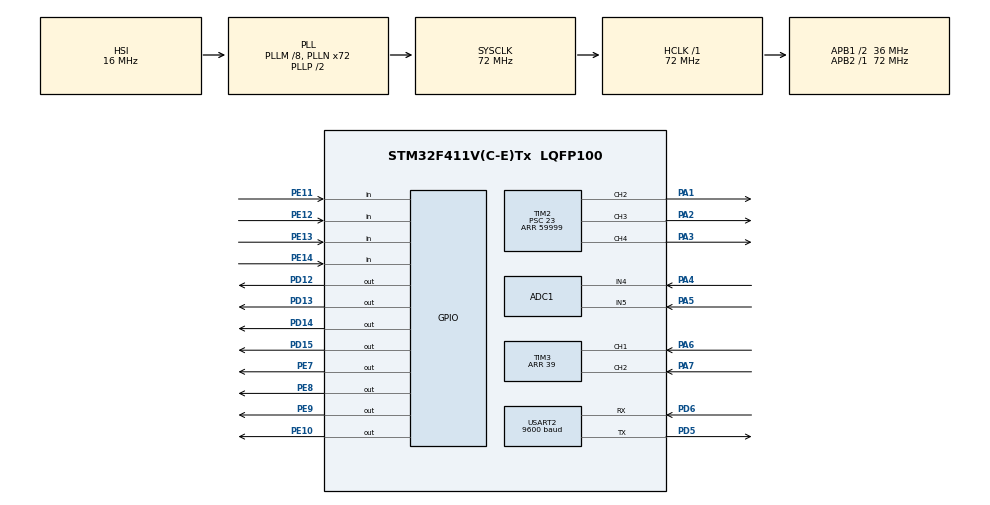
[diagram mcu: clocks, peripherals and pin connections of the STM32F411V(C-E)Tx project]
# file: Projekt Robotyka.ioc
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ADC1.Channel-0\#ChannelRegularConversion=ADC_CHANNEL_4
ADC1.Channel-1\#ChannelRegularConversion=ADC_CHANNEL_5
ADC1.ClockPrescaler=ADC_CLOCK_SYNC_PCLK_DIV8
ADC1.ContinuousConvMode=ENABLE
ADC1.DMAContinuousRequests=ENABLE
ADC1.NbrOfConversion=2
ADC1.NbrOfConversionFlag=1
ADC1.Rank-0\#ChannelRegularConversion=1
ADC1.Rank-1\#ChannelRegularConversion=2
ADC1.SamplingTime-0\#ChannelRegularConversion=ADC_SAMPLETIME_480CYCLES
ADC1.SamplingTime-1\#ChannelRegularConversion=ADC_SAMPLETIME_480CYCLES
ADC1.ScanConvMode=ENABLE
ADC1.master=1
Dma.ADC1.0.Direction=DMA_PERIPH_TO_MEMORY
Dma.ADC1.0.FIFOMode=DMA_FIFOMODE_DISABLE
Dma.ADC1.0.Instance=DMA2_Stream0
Dma.ADC1.0.MemDataAlignment=DMA_MDATAALIGN_HALFWORD
Dma.ADC1.0.MemInc=DMA_MINC_ENABLE
Dma.ADC1.0.Mode=DMA_CIRCULAR
Dma.ADC1.0.PeriphDataAlignment=DMA_PDATAALIGN_HALFWORD
Dma.ADC1.0.PeriphInc=DMA_PINC_DISABLE
Dma.ADC1.0.Priority=DMA_PRIORITY_LOW
Dma.Request0=ADC1
Mcu.Family=STM32F4
Mcu.Name=STM32F411V(C-E)Tx
Mcu.Package=LQFP100
NVIC.DMA2_Stream0_IRQn=true\:0\:0\:false\:false\:true\:false\:true
NVIC.PriorityGroup=NVIC_PRIORITYGROUP_4
NVIC.TIM3_IRQn=true\:0\:0\:false\:false\:true\:true\:true
NVIC.USART2_IRQn=true\:0\:0\:false\:false\:true\:true\:true
PA1.GPIO_Speed=GPIO_SPEED_FREQ_HIGH
PA1.Signal=S_TIM2_CH2
PA2.GPIO_Speed=GPIO_SPEED_FREQ_HIGH
PA2.Signal=S_TIM2_CH3
PA3.GPIO_Speed=GPIO_SPEED_FREQ_HIGH
PA3.Signal=S_TIM2_CH4
PA4.Signal=ADCx_IN4
PA5.Signal=ADCx_IN5
PA6.Signal=S_TIM3_CH1
PA7.Signal=S_TIM3_CH2
PD12.Signal=GPIO_Output
PD13.Signal=GPIO_Output
PD14.Signal=GPIO_Output
PD15.Signal=GPIO_Output
PD5.Mode=Asynchronous
PD5.Signal=USART2_TX
PD6.Mode=Asynchronous
PD6.Signal=USART2_RX
PE10.Signal=GPIO_Output
PE11.GPIO_PuPd=GPIO_PULLDOWN
PE11.Signal=GPIO_Input
PE12.GPIO_PuPd=GPIO_PULLDOWN
PE12.Signal=GPIO_Input
PE13.GPIO_PuPd=GPIO_PULLDOWN
PE13.Signal=GPIO_Input
PE14.GPIO_PuPd=GPIO_PULLDOWN
PE14.Signal=GPIO_Input
PE7.Signal=GPIO_Output
PE8.Signal=GPIO_Output
PE9.Signal=GPIO_Output
ProjectManager.HeapSize=0x200
ProjectManager.StackSize=0x400
ProjectManager.TargetToolchain=STM32CubeIDE
RCC.48MHZClocksFreq_Value=36000000
RCC.AHBFreq_Value=72000000
RCC.APB1CLKDivider=RCC_HCLK_DIV2
RCC.APB1Freq_Value=36000000
RCC.APB1TimFreq_Value=72000000
RCC.APB2Freq_Value=72000000
RCC.APB2TimFreq_Value=72000000
RCC.CortexFreq_Value=72000000
RCC.HCLKFreq_Value=72000000
RCC.HSE_VALUE=25000000
RCC.HSI_VALUE=16000000
RCC.LSE_VALUE=32768
RCC.PLLM=8
RCC.PLLN=72
RCC.SYSCLKFreq_VALUE=72000000
RCC.SYSCLKSource=RCC_SYSCLKSOURCE_PLLCLK
RCC.VCOOutputFreq_Value=144000000
SH.ADCx_IN4.0=ADC1_IN4,IN4
SH.ADCx_IN5.0=ADC1_IN5,IN5
SH.S_TIM2_CH2.0=TIM2_CH2,PWM Generation2 CH2
SH.S_TIM2_CH3.0=TIM2_CH3,PWM Generation3 CH3
SH.S_TIM2_CH4.0=TIM2_CH4,PWM Generation4 CH4
SH.S_TIM3_CH1.0=TIM3_CH1,Encoder_Interface
SH.S_TIM3_CH2.0=TIM3_CH2,Encoder_Interface
TIM2.AutoReloadPreload=TIM_AUTORELOAD_PRELOAD_ENABLE
TIM2.Channel-PWM\ Generation2\ CH2=TIM_CHANNEL_2
TIM2.Channel-PWM\ Generation3\ CH3=TIM_CHANNEL_3
TIM2.Channel-PWM\ Generation4\ CH4=TIM_CHANNEL_4
TIM2.Period=59999
TIM2.Prescaler=23
TIM3.Period=39
USART2.BaudRate=9600
USART2.VirtualMode=VM_ASYNC
VP_TIM2_VS_ClockSourceINT.Mode=Internal
board=custom

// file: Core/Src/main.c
/* USER CODE BEGIN Header */
/**
  ******************************************************************************
  * @file           : main.c
  * @brief          : Main program body
  ******************************************************************************
  * @attention
  *
  * <h2><center>&copy; Copyright (c) 2021 STMicroelectronics.
  * All rights reserved.</center></h2>
  *
  * This software component is licensed by ST under BSD 3-Clause license,
  * the "License"; You may not use this file except in compliance with the
  * License. You may obtain a copy of the License at:
  *                        opensource.org/licenses/BSD-3-Clause
  *
  ******************************************************************************
  */
/* USER CODE END Header */
#include "main.h"
#include "adc.h"
#include "dma.h"
#include "tim.h"
#include "usart.h"
#include "gpio.h"

/* USER CODE BEGIN Includes */
#include "InverseKinematics.h"
#include "Servo.h"
#include "math.h"
#include "matrix_lib.h"
#include "Joystick.h"
/* USER CODE END Includes */

/* USER CODE BEGIN PM */
//int a=10;
/* USER CODE END PM */

/* USER CODE BEGIN PV */
uint16_t Joystick[2];
int a ;
volatile int counter = 0;;
uint8_t Received;
/* USER CODE END PV */

void SystemClock_Config(void);

int main(void)
{

  /* MCU Configuration--------------------------------------------------------*/

  /* Reset of all peripherals, Initializes the Flash interface and the Systick. */
  HAL_Init();

  /* Configure the system clock */
  SystemClock_Config();

  /* Initialize all configured peripherals */
  MX_GPIO_Init();
  MX_DMA_Init();
  MX_TIM2_Init();
  MX_ADC1_Init();
  MX_TIM3_Init();
  MX_USART2_UART_Init();
  /* USER CODE BEGIN 2 */
  joystick joy;
  servo obiekt;
  servo_Init(&htim2);

  joystick_Start(&hadc1, &joy);

  //HAL_TIM_IC_Start(&htim1, TIM_CHANNEL_1);
  //HAL_TIM_IC_Start(&htim1, TIM_CHANNEL_2);
  //HAL_TIM_Base_Start_IT(&htim3);
  HAL_TIM_Encoder_Start_IT(&htim3, TIM_CHANNEL_ALL);
  HAL_UART_Receive_IT(&huart2, &Received, 1);
  HAL_GPIO_TogglePin(GPIOD, GPIO_PIN_15);
  /* USER CODE END 2 */

  /* Infinite loop */
  /* USER CODE BEGIN WHILE */
  while (1)
  {
	 //a = (__HAL_TIM_GET_COUNTER(&htim3))*360/40;

	 //if(counter == 5)
		// HAL_GPIO_TogglePin(GPIOD, GPIO_PIN_15);

    /* USER CODE END WHILE */

    /* USER CODE BEGIN 3 */
	  if(matrix_ReadKey()==2)
	  {

		  while(matrix_ReadKey()==0 || matrix_ReadKey() == 2)
		  {
		  	  joystick_Control(&htim2, joy);
		  	  HAL_Delay(100);
		  }

	  }

	  if(matrix_ReadKey()==1)
	  {
		  InverseKinematics(6, 8,&obiekt);
		  __HAL_TIM_SET_COMPARE(&htim2,TIM_CHANNEL_2,Theta1((obiekt.servo1/3.14159)*180));
		  __HAL_TIM_SET_COMPARE(&htim2,TIM_CHANNEL_3,Theta2((obiekt.servo2/3.14159)*180));
		  InverseKinematics(0, 11,&obiekt);
		  HAL_Delay(3000);
		  __HAL_TIM_SET_COMPARE(&htim2,TIM_CHANNEL_2,Theta1((obiekt.servo1/3.14159)*180));
		  __HAL_TIM_SET_COMPARE(&htim2,TIM_CHANNEL_3,Theta2((obiekt.servo2/3.14159)*180));
	  }

	  //a= voltageToAngleX(joy);

	  //__HAL_TIM_SET_COMPARE(&htim2,TIM_CHANNEL_3,Theta2(0));
	  //__HAL_TIM_SET_COMPARE(&htim2,TIM_CHANNEL_2,Theta1(180));
//	  HAL_Delay(200);

	  //__HAL_TIM_SET_COMPARE(&htim2,TIM_CHANNEL_2,Theta1(99));
	  	 //__HAL_TIM_SET_COMPARE(&htim2,TIM_CHANNEL_3,Theta2(110));
	  //__HAL_TIM_SET_COMPARE(&htim2,TIM_CHANNEL_3,Theta2(90));
//	 __HAL_TIM_SET_COMPARE(&htim2,TIM_CHANNEL_2,1600);
//	 HAL_Delay(1000);
//	 __HAL_TIM_SET_COMPARE(&htim2,TIM_CHANNEL_2,7600);
//
//	 __HAL_TIM_SET_COMPARE(&htim2,TIM_CHANNEL_3,1600);
//	 	 HAL_Delay(1000);
//	 	 __HAL_TIM_SET_COMPARE(&htim2,TIM_CHANNEL_3,7600);
//
//	 	 __HAL_TIM_SET_COMPARE(&htim2,TIM_CHANNEL_4,1600);
//	 		 	 HAL_Delay(1000);
//	 		 	 __HAL_TIM_SET_COMPARE(&htim2,TIM_CHANNEL_4,7600);
  }
  /* USER CODE END 3 */
}

void SystemClock_Config(void)
{
  RCC_OscInitTypeDef RCC_OscInitStruct = {0};
  RCC_ClkInitTypeDef RCC_ClkInitStruct = {0};

  /** Configure the main internal regulator output voltage
  */
  __HAL_RCC_PWR_CLK_ENABLE();
  __HAL_PWR_VOLTAGESCALING_CONFIG(PWR_REGULATOR_VOLTAGE_SCALE1);
  /** Initializes the RCC Oscillators according to the specified parameters
  * in the RCC_OscInitTypeDef structure.
  */
  RCC_OscInitStruct.OscillatorType = RCC_OSCILLATORTYPE_HSI;
  RCC_OscInitStruct.HSIState = RCC_HSI_ON;
  RCC_OscInitStruct.HSICalibrationValue = RCC_HSICALIBRATION_DEFAULT;
  RCC_OscInitStruct.PLL.PLLState = RCC_PLL_ON;
  RCC_OscInitStruct.PLL.PLLSource = RCC_PLLSOURCE_HSI;
  RCC_OscInitStruct.PLL.PLLM = 8;
  RCC_OscInitStruct.PLL.PLLN = 72;
  RCC_OscInitStruct.PLL.PLLP = RCC_PLLP_DIV2;
  RCC_OscInitStruct.PLL.PLLQ = 4;
  if (HAL_RCC_OscConfig(&RCC_OscInitStruct) != HAL_OK)
  {
    Error_Handler();
  }
  /** Initializes the CPU, AHB and APB buses clocks
  */
  RCC_ClkInitStruct.ClockType = RCC_CLOCKTYPE_HCLK|RCC_CLOCKTYPE_SYSCLK
                              |RCC_CLOCKTYPE_PCLK1|RCC_CLOCKTYPE_PCLK2;
  RCC_ClkInitStruct.SYSCLKSource = RCC_SYSCLKSOURCE_PLLCLK;
  RCC_ClkInitStruct.AHBCLKDivider = RCC_SYSCLK_DIV1;
  RCC_ClkInitStruct.APB1CLKDivider = RCC_HCLK_DIV2;
  RCC_ClkInitStruct.APB2CLKDivider = RCC_HCLK_DIV1;

  if (HAL_RCC_ClockConfig(&RCC_ClkInitStruct, FLASH_LATENCY_2) != HAL_OK)
  {
    Error_Handler();
  }
}

/* USER CODE BEGIN 4 */
void HAL_TIM_IC_CaptureCallback(TIM_HandleTypeDef *htim)
{
		counter++;
}

void HAL_UART_RxCpltCallback(UART_HandleTypeDef *huart) {

	uint8_t Data[50]; // Tablica przechowujaca wysylana wiadomosc.
	uint16_t size = 0; // Rozmiar wysylanej wiadomosci

	// Odebrany znak zostaje przekonwertowany na liczbe calkowita i sprawdzony
	// instrukcja warunkowa
	switch (atoi(&Received)) {

	case 0: // Jezeli odebrany zostanie znak 0
		HAL_GPIO_TogglePin(GPIOD, GPIO_PIN_15);

		break;

	case 1: // Jezeli odebrany zostanie znak 1
		HAL_GPIO_TogglePin(GPIOD, GPIO_PIN_15);
		break;

	default: // Jezeli odebrano nieobslugiwany znak
		//size = sprintf(Data, "Odebrano nieznany znak: %c\n\r", Received);
		break;
	}

	 // Rozpoczecie nadawania danych z wykorzystaniem przerwan
	HAL_UART_Receive_IT(&huart2, &Received, 1); // Ponowne włączenie nasłuchiwania*/
}
/* USER CODE END 4 */

void Error_Handler(void)
{
  __disable_irq();
  while (1)
  {
  }
}

/************************ (C) COPYRIGHT STMicroelectronics *****END OF FILE****/
